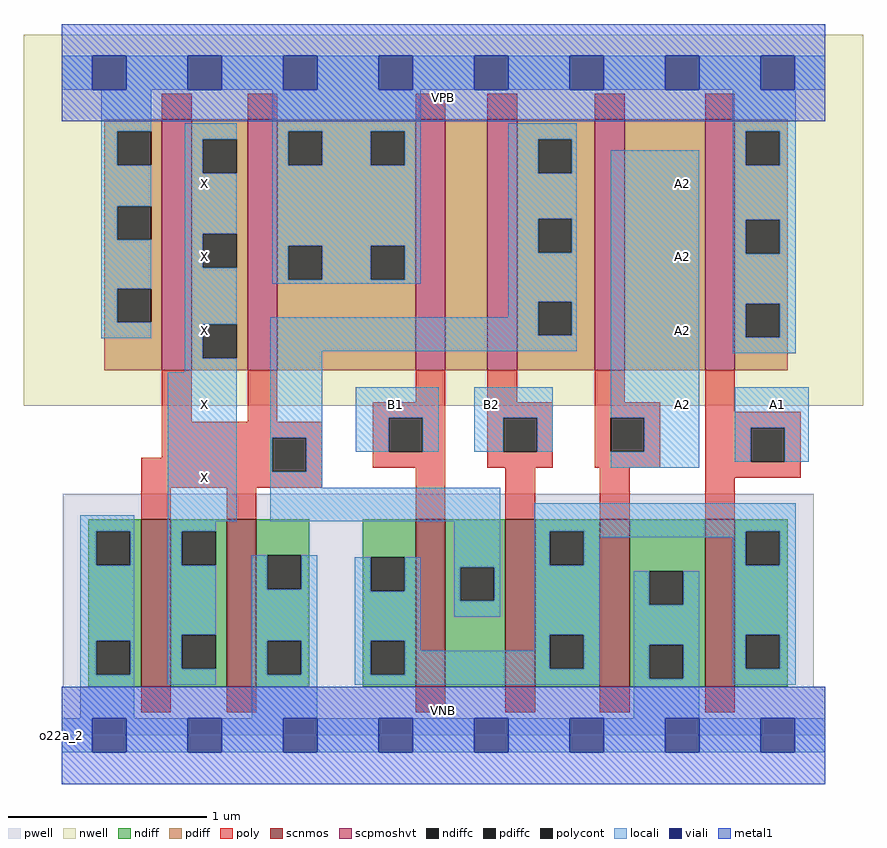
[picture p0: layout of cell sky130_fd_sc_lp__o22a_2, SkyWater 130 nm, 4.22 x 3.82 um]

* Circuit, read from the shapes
.subckt sky130_fd_sc_lp__o22a_2 A1 A2 B1 B2 VGND VNB VPB VPWR X
XM1 X n1 VGND VNB sky130_fd_pr__nfet_01v8 w=0.84 l=0.15 m=2
XM2 n1 B1 n2 VNB sky130_fd_pr__nfet_01v8 w=0.84 l=0.15
XM3 n2 B2 n1 VNB sky130_fd_pr__nfet_01v8 w=0.84 l=0.15
XM4 VGND A2 n2 VNB sky130_fd_pr__nfet_01v8 w=0.84 l=0.15
XM5 n2 A1 VGND VNB sky130_fd_pr__nfet_01v8 w=0.84 l=0.15
XM6 X n1 VPWR VPB sky130_fd_pr__pfet_01v8_hvt w=1.26 l=0.15 m=2
XM7 n3 B1 VPWR VPB sky130_fd_pr__pfet_01v8_hvt w=1.26 l=0.15
XM8 n1 B2 n3 VPB sky130_fd_pr__pfet_01v8_hvt w=1.26 l=0.15
XM9 n4 A2 n1 VPB sky130_fd_pr__pfet_01v8_hvt w=1.26 l=0.15
XM10 VPWR A1 n4 VPB sky130_fd_pr__pfet_01v8_hvt w=1.26 l=0.15
.ends

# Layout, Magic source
magic
tech sky130A
magscale 1 2
<< nwell >>
rect -38 331 806 704
<< pwell >>
rect 1 49 756 243
rect 0 0 768 49
<< scnmos >>
rect 80 49 110 217
rect 166 49 196 217
rect 356 49 386 217
rect 446 49 476 217
rect 541 49 571 217
rect 647 49 677 217
<< scpmoshvt >>
rect 101 367 131 619
rect 187 367 217 619
rect 356 367 386 619
rect 428 367 458 619
rect 536 367 566 619
rect 647 367 677 619
<< ndiff >>
rect 27 205 80 217
rect 27 171 35 205
rect 69 171 80 205
rect 27 95 80 171
rect 27 61 35 95
rect 69 61 80 95
rect 27 49 80 61
rect 110 205 166 217
rect 110 171 121 205
rect 155 171 166 205
rect 110 101 166 171
rect 110 67 121 101
rect 155 67 166 101
rect 110 49 166 67
rect 196 181 249 217
rect 196 147 207 181
rect 241 147 249 181
rect 196 95 249 147
rect 196 61 207 95
rect 241 61 249 95
rect 196 49 249 61
rect 303 179 356 217
rect 303 145 311 179
rect 345 145 356 179
rect 303 95 356 145
rect 303 61 311 95
rect 345 61 356 95
rect 303 49 356 61
rect 386 169 446 217
rect 386 135 401 169
rect 435 135 446 169
rect 386 49 446 135
rect 476 205 541 217
rect 476 171 491 205
rect 525 171 541 205
rect 476 101 541 171
rect 476 67 491 101
rect 525 67 541 101
rect 476 49 541 67
rect 571 165 647 217
rect 571 131 591 165
rect 625 131 647 165
rect 571 91 647 131
rect 571 57 591 91
rect 625 57 647 91
rect 571 49 647 57
rect 677 205 730 217
rect 677 171 688 205
rect 722 171 730 205
rect 677 101 730 171
rect 677 67 688 101
rect 722 67 730 101
rect 677 49 730 67
<< pdiff >>
rect 43 607 101 619
rect 43 573 56 607
rect 90 573 101 607
rect 43 532 101 573
rect 43 498 56 532
rect 90 498 101 532
rect 43 449 101 498
rect 43 415 56 449
rect 90 415 101 449
rect 43 367 101 415
rect 131 599 187 619
rect 131 565 142 599
rect 176 565 187 599
rect 131 504 187 565
rect 131 470 142 504
rect 176 470 187 504
rect 131 413 187 470
rect 131 379 142 413
rect 176 379 187 413
rect 131 367 187 379
rect 217 607 356 619
rect 217 573 228 607
rect 262 573 311 607
rect 345 573 356 607
rect 217 492 356 573
rect 217 458 228 492
rect 262 458 311 492
rect 345 458 356 492
rect 217 367 356 458
rect 386 367 428 619
rect 458 599 536 619
rect 458 565 479 599
rect 513 565 536 599
rect 458 519 536 565
rect 458 485 479 519
rect 513 485 536 519
rect 458 436 536 485
rect 458 402 479 436
rect 513 402 536 436
rect 458 367 536 402
rect 566 367 647 619
rect 677 607 730 619
rect 677 573 688 607
rect 722 573 730 607
rect 677 518 730 573
rect 677 484 688 518
rect 722 484 730 518
rect 677 434 730 484
rect 677 400 688 434
rect 722 400 730 434
rect 677 367 730 400
<< ndiffc >>
rect 35 171 69 205
rect 35 61 69 95
rect 121 171 155 205
rect 121 67 155 101
rect 207 147 241 181
rect 207 61 241 95
rect 311 145 345 179
rect 311 61 345 95
rect 401 135 435 169
rect 491 171 525 205
rect 491 67 525 101
rect 591 131 625 165
rect 591 57 625 91
rect 688 171 722 205
rect 688 67 722 101
<< pdiffc >>
rect 56 573 90 607
rect 56 498 90 532
rect 56 415 90 449
rect 142 565 176 599
rect 142 470 176 504
rect 142 379 176 413
rect 228 573 262 607
rect 311 573 345 607
rect 228 458 262 492
rect 311 458 345 492
rect 479 565 513 599
rect 479 485 513 519
rect 479 402 513 436
rect 688 573 722 607
rect 688 484 722 518
rect 688 400 722 434
<< poly >>
rect 101 619 131 645
rect 187 619 217 645
rect 356 619 386 645
rect 428 619 458 645
rect 536 619 566 645
rect 647 619 677 645
rect 101 315 131 367
rect 187 315 217 367
rect 356 335 386 367
rect 313 319 386 335
rect 101 299 262 315
rect 101 279 212 299
rect 80 265 212 279
rect 246 265 262 299
rect 313 285 329 319
rect 363 285 386 319
rect 313 269 386 285
rect 428 335 458 367
rect 536 335 566 367
rect 428 319 494 335
rect 428 285 444 319
rect 478 285 494 319
rect 428 269 494 285
rect 536 319 602 335
rect 536 285 552 319
rect 586 285 602 319
rect 536 269 602 285
rect 647 325 677 367
rect 647 309 743 325
rect 647 275 693 309
rect 727 275 743 309
rect 80 249 262 265
rect 80 217 110 249
rect 166 217 196 249
rect 356 217 386 269
rect 446 217 476 269
rect 541 217 571 269
rect 647 259 743 275
rect 647 217 677 259
rect 80 23 110 49
rect 166 23 196 49
rect 356 23 386 49
rect 446 23 476 49
rect 541 23 571 49
rect 647 23 677 49
<< polycont >>
rect 212 265 246 299
rect 329 285 363 319
rect 444 285 478 319
rect 552 285 586 319
rect 693 275 727 309
<< locali >>
rect 0 649 31 683
rect 65 649 127 683
rect 161 649 223 683
rect 257 649 319 683
rect 353 649 415 683
rect 449 649 511 683
rect 545 649 607 683
rect 641 649 703 683
rect 737 649 768 683
rect 40 607 90 649
rect 40 573 56 607
rect 40 532 90 573
rect 40 498 56 532
rect 40 449 90 498
rect 40 415 56 449
rect 40 399 90 415
rect 124 599 176 615
rect 124 565 142 599
rect 124 504 176 565
rect 124 470 142 504
rect 124 413 176 470
rect 212 607 361 649
rect 212 573 228 607
rect 262 573 311 607
rect 345 573 361 607
rect 212 492 361 573
rect 212 458 228 492
rect 262 458 311 492
rect 345 458 361 492
rect 212 454 361 458
rect 449 599 518 615
rect 449 565 479 599
rect 513 565 518 599
rect 675 607 738 649
rect 449 519 518 565
rect 449 485 479 519
rect 513 485 518 519
rect 449 436 518 485
rect 449 420 479 436
rect 124 379 142 413
rect 124 365 176 379
rect 19 205 73 221
rect 19 171 35 205
rect 69 171 73 205
rect 19 95 73 171
rect 19 61 35 95
rect 69 61 73 95
rect 19 17 73 61
rect 107 215 176 365
rect 210 402 479 420
rect 513 402 518 436
rect 210 386 518 402
rect 210 299 262 386
rect 210 265 212 299
rect 246 265 262 299
rect 296 319 379 350
rect 296 285 329 319
rect 363 285 379 319
rect 415 319 494 350
rect 415 285 444 319
rect 478 285 494 319
rect 552 319 641 588
rect 675 573 688 607
rect 722 573 738 607
rect 675 518 738 573
rect 675 484 688 518
rect 722 484 738 518
rect 675 434 738 484
rect 675 400 688 434
rect 722 400 738 434
rect 675 384 738 400
rect 586 285 641 319
rect 552 269 641 285
rect 677 309 751 350
rect 677 275 693 309
rect 727 275 751 309
rect 210 249 262 265
rect 210 215 441 249
rect 107 205 155 215
rect 107 171 121 205
rect 107 101 155 171
rect 107 67 121 101
rect 107 51 155 67
rect 191 147 207 181
rect 241 147 257 181
rect 191 95 257 147
rect 191 61 207 95
rect 241 61 257 95
rect 191 17 257 61
rect 295 145 311 179
rect 345 145 361 179
rect 295 95 361 145
rect 395 169 441 215
rect 395 135 401 169
rect 435 135 441 169
rect 395 119 441 135
rect 475 205 738 233
rect 475 171 491 205
rect 525 199 688 205
rect 525 171 541 199
rect 295 61 311 95
rect 345 85 361 95
rect 475 101 541 171
rect 675 171 688 199
rect 722 171 738 205
rect 475 85 491 101
rect 345 67 491 85
rect 525 67 541 101
rect 345 61 541 67
rect 295 51 541 61
rect 575 131 591 165
rect 625 131 641 165
rect 575 91 641 131
rect 575 57 591 91
rect 625 57 641 91
rect 575 17 641 57
rect 675 101 738 171
rect 675 67 688 101
rect 722 67 738 101
rect 675 51 738 67
rect 0 -17 31 17
rect 65 -17 127 17
rect 161 -17 223 17
rect 257 -17 319 17
rect 353 -17 415 17
rect 449 -17 511 17
rect 545 -17 607 17
rect 641 -17 703 17
rect 737 -17 768 17
<< viali >>
rect 31 649 65 683
rect 127 649 161 683
rect 223 649 257 683
rect 319 649 353 683
rect 415 649 449 683
rect 511 649 545 683
rect 607 649 641 683
rect 703 649 737 683
rect 31 -17 65 17
rect 127 -17 161 17
rect 223 -17 257 17
rect 319 -17 353 17
rect 415 -17 449 17
rect 511 -17 545 17
rect 607 -17 641 17
rect 703 -17 737 17
<< metal1 >>
rect 0 683 768 715
rect 0 649 31 683
rect 65 649 127 683
rect 161 649 223 683
rect 257 649 319 683
rect 353 649 415 683
rect 449 649 511 683
rect 545 649 607 683
rect 641 649 703 683
rect 737 649 768 683
rect 0 617 768 649
rect 0 17 768 49
rect 0 -17 31 17
rect 65 -17 127 17
rect 161 -17 223 17
rect 257 -17 319 17
rect 353 -17 415 17
rect 449 -17 511 17
rect 545 -17 607 17
rect 641 -17 703 17
rect 737 -17 768 17
rect 0 -49 768 -17
<< labels >>
flabel pwell s 0 0 768 49 0 FreeSans 200 0 0 0 VNB
port 6 nsew ground bidirectional
flabel nwell s 0 617 768 666 0 FreeSans 200 0 0 0 VPB
port 7 nsew power bidirectional
rlabel comment s 0 0 0 0 4 o22a_2
flabel metal1 s 0 617 768 666 0 FreeSans 340 0 0 0 VPWR
port 8 nsew power bidirectional
flabel metal1 s 0 0 768 49 0 FreeSans 340 0 0 0 VGND
port 5 nsew ground bidirectional
flabel locali s 127 242 161 276 0 FreeSans 340 0 0 0 X
port 9 nsew signal output
flabel locali s 127 316 161 350 0 FreeSans 340 0 0 0 X
port 9 nsew signal output
flabel locali s 127 390 161 424 0 FreeSans 340 0 0 0 X
port 9 nsew signal output
flabel locali s 127 464 161 498 0 FreeSans 340 0 0 0 X
port 9 nsew signal output
flabel locali s 127 538 161 572 0 FreeSans 340 0 0 0 X
port 9 nsew signal output
flabel locali s 703 316 737 350 0 FreeSans 340 0 0 0 A1
port 1 nsew signal input
flabel locali s 607 316 641 350 0 FreeSans 340 0 0 0 A2
port 2 nsew signal input
flabel locali s 607 390 641 424 0 FreeSans 340 0 0 0 A2
port 2 nsew signal input
flabel locali s 607 464 641 498 0 FreeSans 340 0 0 0 A2
port 2 nsew signal input
flabel locali s 607 538 641 572 0 FreeSans 340 0 0 0 A2
port 2 nsew signal input
flabel locali s 415 316 449 350 0 FreeSans 340 0 0 0 B2
port 4 nsew signal input
flabel locali s 319 316 353 350 0 FreeSans 340 0 0 0 B1
port 3 nsew signal input
<< properties >>
string LEFsite unit
string LEFclass CORE
string FIXED_BBOX 0 0 768 666
string GDS_FILE $PDKPATH/libs.ref/sky130_fd_sc_lp/gds/sky130_fd_sc_lp.gds
string LEFsymmetry X Y R90
string GDS_END 975574
string GDS_START 967794
<< end >>
